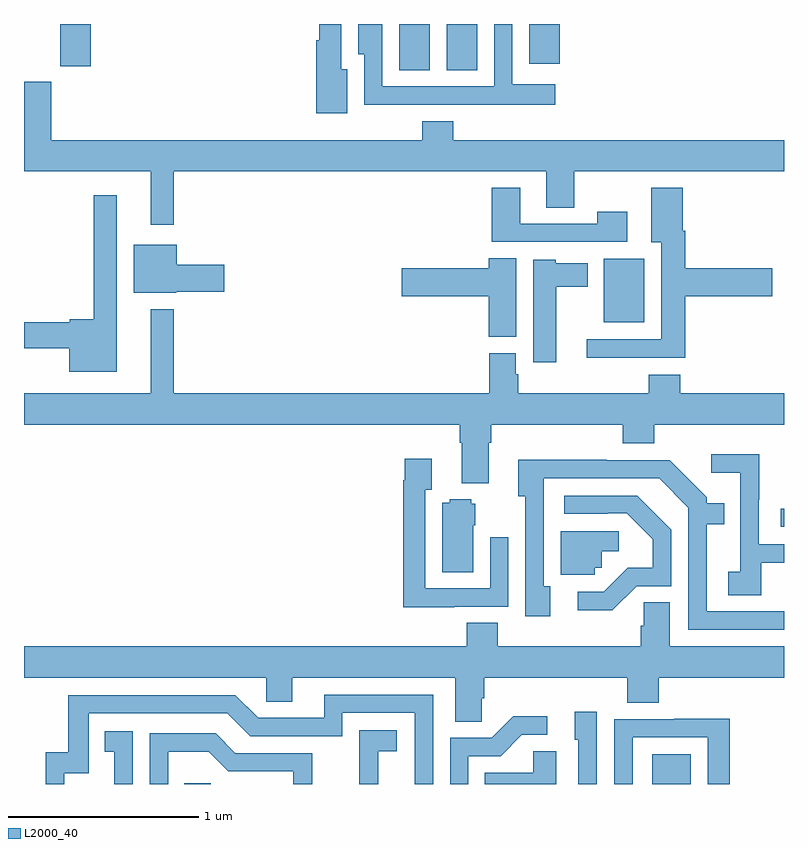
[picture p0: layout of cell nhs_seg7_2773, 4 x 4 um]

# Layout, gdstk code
import gdstk
lib = gdstk.Library(unit=1e-6, precision=1e-09)
def R(c, l, rs):  # rectangles x0, y0, x1, y1
    for r in rs: c.add(gdstk.rectangle(r[:2], r[2:], *l))
def P(c, l, *ps):  # polygons
    for p in ps: c.add(gdstk.Polygon(p, *l))
L2000_40 = (2000, 40)

nhs_seg7_2773 = lib.new_cell('nhs_seg7_2773')
R(nhs_seg7_2773, L2000_40, [(289.843,1056,289.983,1056.003), (292.307,1056,292.51,1056.157), (292.983,1057.353,293,1057.449), (292.052,1058.429,292.264,1058.764), (290.975,1059.757,291.136,1060), (291.224,1059.757,291.385,1060), (289.192,1059.777,289.352,1060), (291.659,1059.792,291.82,1060)])
P(nhs_seg7_2773, L2000_40, [(290.701,1059.763),(290.671,1059.763),(290.671,1060),(290.553,1060),(290.553,1059.915),(290.537,1059.915),(290.537,1059.531),(290.701,1059.531)],
  [(291.011,1059.576),(291.377,1059.576),(291.377,1059.575),(291.796,1059.575),(291.796,1059.682),(291.57,1059.682),(291.57,1060),(291.474,1060),(291.474,1059.672),(290.886,1059.672),(290.886,1060),(290.759,1060),(290.759,1059.841),(290.79,1059.841),(290.79,1059.575),(291.011,1059.575)],
  [(289.789,1059.224),(291.749,1059.224),(291.749,1059.034),(291.897,1059.034),(291.897,1059.224),(293,1059.224),(293,1059.388),(291.26,1059.388),(291.26,1059.487),(291.095,1059.487),(291.095,1059.388),(289.144,1059.388),(289.144,1059.697),(289,1059.697),(289,1059.224),(289.667,1059.224),(289.667,1058.943),(289.789,1058.943)],
  [(292.174,1059.013),(292.018,1059.013),(292.018,1058.949),(291.613,1058.949),(291.613,1059.139),(291.461,1059.139),(291.461,1058.853),(292.174,1058.853)],
  [(292.481,1058.567),(292.939,1058.567),(292.939,1058.714),(292.481,1058.714),(292.481,1058.912),(292.468,1058.912),(292.468,1059.139),(292.301,1059.139),(292.301,1058.852),(292.355,1058.852),(292.355,1058.34),(291.963,1058.34),(291.963,1058.243),(292.481,1058.243)],
  [(289.489,1059.1),(289.368,1059.1),(289.368,1058.447),(289.242,1058.447),(289.242,1058.429),(289,1058.429),(289,1058.294),(289.238,1058.294),(289.238,1058.171),(289.489,1058.171)],
  [(289.8,1058.591),(290.053,1058.591),(290.053,1058.733),(289.804,1058.733),(289.804,1058.839),(289.577,1058.839),(289.577,1058.585),(289.8,1058.585)],
  [(291.592,1058.768),(291.446,1058.768),(291.446,1058.714),(290.988,1058.714),(290.988,1058.567),(291.446,1058.567),(291.446,1058.353),(291.592,1058.353)],
  [(291.802,1058.618),(291.967,1058.618),(291.967,1058.74),(291.798,1058.74),(291.798,1058.758),(291.68,1058.758),(291.68,1058.22),(291.802,1058.22)],
  [(291.445,1057.796),(291.458,1057.796),(291.458,1057.892),(292.151,1057.892),(292.151,1057.793),(292.316,1057.793),(292.316,1057.892),(293,1057.892),(293,1058.056),(292.454,1058.056),(292.454,1058.155),(292.289,1058.155),(292.289,1058.056),(291.602,1058.056),(291.602,1058.157),(291.589,1058.157),(291.589,1058.268),(291.449,1058.268),(291.449,1058.056),(289.789,1058.056),(289.789,1058.5),(289.667,1058.5),(289.667,1058.056),(289,1058.056),(289,1057.892),(291.293,1057.892),(291.293,1057.796),(291.305,1057.796),(291.305,1057.583),(291.445,1057.583)],
  [(292.879,1057.165),(293,1057.165),(293,1057.263),(292.866,1057.263),(292.866,1057.496),(292.869,1057.496),(292.869,1057.735),(292.617,1057.735),(292.617,1057.637),(292.77,1057.637),(292.77,1057.116),(292.707,1057.116),(292.707,1056.994),(292.879,1056.994)],
  [(291.265,1056.933),(291.549,1056.933),(291.549,1057.3),(291.453,1057.3),(291.453,1057.029),(291.111,1057.029),(291.111,1057.55),(291.145,1057.55),(291.145,1057.711),(291.003,1057.711),(291.003,1057.598),(290.995,1057.598),(290.995,1056.929),(291.265,1056.929)],
  [(293,1056.909),(292.594,1056.909),(292.594,1057.368),(292.685,1057.368),(292.685,1057.477),(292.593,1057.477),(292.593,1057.509),(292.398,1057.704),(292.067,1057.704),(292.067,1057.706),(291.602,1057.706),(291.602,1057.514),(291.639,1057.514),(291.639,1056.882),(291.769,1056.882),(291.769,1057.042),(291.735,1057.042),(291.735,1057.608),(292.344,1057.608),(292.497,1057.455),(292.497,1056.813),(293,1056.813)],
  [(292.224,1057.041),(292.407,1057.041),(292.407,1057.339),(292.228,1057.518),(291.843,1057.518),(291.843,1057.422),(292.073,1057.422),(292.073,1057.425),(292.173,1057.425),(292.31,1057.288),(292.31,1057.138),(292.177,1057.138),(292.05,1057.011),(291.915,1057.011),(291.915,1056.914),(292.096,1056.914)],
  [(291.364,1057.362),(291.376,1057.362),(291.376,1057.476),(291.354,1057.476),(291.354,1057.498),(291.24,1057.498),(291.24,1057.48),(291.2,1057.48),(291.2,1057.114),(291.364,1057.114)],
  [(292.005,1057.137),(292.041,1057.137),(292.041,1057.226),(292.129,1057.226),(292.129,1057.329),(291.824,1057.329),(291.824,1057.101),(292.005,1057.101)],
  [(292.34,1056.56),(293,1056.56),(293,1056.724),(292.399,1056.724),(292.399,1056.956),(292.261,1056.956),(292.261,1056.834),(292.247,1056.834),(292.247,1056.724),(291.494,1056.724),(291.494,1056.848),(291.329,1056.848),(291.329,1056.724),(289,1056.724),(289,1056.56),(290.274,1056.56),(290.274,1056.433),(290.413,1056.433),(290.413,1056.56),(291.269,1056.56),(291.269,1056.328),(291.408,1056.328),(291.408,1056.451),(291.422,1056.451),(291.422,1056.56),(292.175,1056.56),(292.175,1056.427),(292.34,1056.427)],
  [(289.212,1056.057),(289.341,1056.057),(289.341,1056.372),(290.07,1056.372),(290.19,1056.252),(290.676,1056.252),(290.676,1056.375),(291.057,1056.375),(291.057,1056),(291.153,1056),(291.153,1056.471),(290.579,1056.471),(290.579,1056.348),(290.232,1056.348),(290.112,1056.468),(289.233,1056.468),(289.233,1056.166),(289.115,1056.166),(289.115,1056),(289.212,1056)],
  [(292.014,1056.379),(291.899,1056.379),(291.899,1056.234),(291.918,1056.234),(291.918,1056),(292.014,1056)],
  [(291.339,1056.147),(291.508,1056.147),(291.619,1056.258),(291.754,1056.258),(291.754,1056.356),(291.575,1056.356),(291.462,1056.243),(291.243,1056.243),(291.243,1056),(291.339,1056)],
  [(292.203,1056.246),(292.599,1056.246),(292.599,1056),(292.715,1056),(292.715,1056.344),(292.423,1056.344),(292.423,1056.342),(292.107,1056.342),(292.107,1056),(292.203,1056)],
  [(290.864,1056.173),(290.962,1056.173),(290.962,1056.283),(290.764,1056.283),(290.764,1056.077),(290.765,1056.077),(290.765,1056),(290.864,1056)],
  [(289.572,1056.277),(289.426,1056.277),(289.426,1056.171),(289.475,1056.171),(289.475,1056),(289.572,1056)],
  [(289.758,1056.17),(289.972,1056.17),(290.076,1056.066),(290.418,1056.066),(290.418,1056),(290.517,1056),(290.517,1056.162),(290.113,1056.162),(290.008,1056.267),(289.662,1056.267),(289.662,1056),(289.758,1056)],
  [(291.802,1056.173),(291.681,1056.173),(291.681,1056.058),(291.424,1056.058),(291.424,1056),(291.802,1056)])

lib.write_gds('nhs_seg7_2773.gds')
